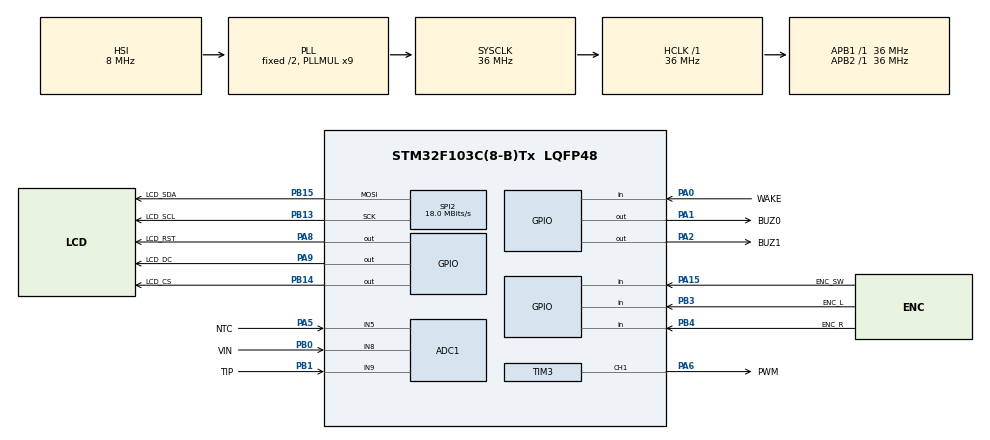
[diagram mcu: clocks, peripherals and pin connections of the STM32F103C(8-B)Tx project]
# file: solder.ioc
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ADC1.Channel-2\#ChannelRegularConversion=ADC_CHANNEL_5
ADC1.Channel-3\#ChannelRegularConversion=ADC_CHANNEL_8
ADC1.Channel-4\#ChannelRegularConversion=ADC_CHANNEL_9
ADC1.ContinuousConvMode=ENABLE
ADC1.EnableInjectedConversion=DISABLE
ADC1.NbrOfConversion=3
ADC1.NbrOfConversionFlag=1
ADC1.Rank-2\#ChannelRegularConversion=1
ADC1.Rank-3\#ChannelRegularConversion=2
ADC1.Rank-4\#ChannelRegularConversion=3
ADC1.SamplingTime-2\#ChannelRegularConversion=ADC_SAMPLETIME_13CYCLES_5
ADC1.SamplingTime-3\#ChannelRegularConversion=ADC_SAMPLETIME_13CYCLES_5
ADC1.SamplingTime-4\#ChannelRegularConversion=ADC_SAMPLETIME_13CYCLES_5
ADC1.master=1
Dma.ADC1.0.Direction=DMA_PERIPH_TO_MEMORY
Dma.ADC1.0.Instance=DMA1_Channel1
Dma.ADC1.0.MemDataAlignment=DMA_MDATAALIGN_HALFWORD
Dma.ADC1.0.MemInc=DMA_MINC_ENABLE
Dma.ADC1.0.Mode=DMA_NORMAL
Dma.ADC1.0.PeriphDataAlignment=DMA_PDATAALIGN_HALFWORD
Dma.ADC1.0.PeriphInc=DMA_PINC_DISABLE
Dma.ADC1.0.Priority=DMA_PRIORITY_VERY_HIGH
Dma.Request0=ADC1
Mcu.Family=STM32F1
Mcu.Name=STM32F103C(8-B)Tx
Mcu.Package=LQFP48
NVIC.DMA1_Channel1_IRQn=true\:0\:0\:false\:false\:true\:false\:true
NVIC.PriorityGroup=NVIC_PRIORITYGROUP_4
NVIC.TIM4_IRQn=true\:2\:0\:true\:false\:true\:true\:true
PA0-WKUP.GPIO_Label=WAKE
PA0-WKUP.Signal=GPIO_Input
PA1.GPIO_Label=BUZ0
PA1.Signal=GPIO_Output
PA13.Mode=Serial_Wire
PA13.Signal=SYS_JTMS-SWDIO
PA14.Mode=Serial_Wire
PA14.Signal=SYS_JTCK-SWCLK
PA15.GPIO_Label=ENC_SW
PA15.Signal=GPIO_Input
PA2.GPIO_Label=BUZ1
PA2.Signal=GPIO_Output
PA5.GPIO_Label=NTC
PA5.Signal=ADCx_IN5
PA6.GPIO_Label=PWM
PA6.Signal=S_TIM3_CH1
PA8.GPIO_Label=LCD_RST
PA8.GPIO_Speed=GPIO_SPEED_FREQ_HIGH
PA8.Signal=GPIO_Output
PA9.GPIO_Label=LCD_DC
PA9.GPIO_Speed=GPIO_SPEED_FREQ_HIGH
PA9.Signal=GPIO_Output
PB0.GPIO_Label=VIN
PB0.Signal=ADCx_IN8
PB1.GPIO_Label=TIP
PB1.Signal=ADCx_IN9
PB13.GPIO_Label=LCD_SCL
PB13.Mode=TX_Only_Simplex_Unidirect_Master
PB13.Signal=SPI2_SCK
PB14.GPIO_Label=LCD_CS
PB14.GPIO_Speed=GPIO_SPEED_FREQ_HIGH
PB14.Signal=GPIO_Output
PB15.GPIO_Label=LCD_SDA
PB15.Mode=TX_Only_Simplex_Unidirect_Master
PB15.Signal=SPI2_MOSI
PB3.GPIO_Label=ENC_L
PB3.Signal=GPIO_Input
PB4.GPIO_Label=ENC_R
PB4.Signal=GPIO_Input
PC14-OSC32_IN.Mode=LSE-External-Oscillator
PC14-OSC32_IN.Signal=RCC_OSC32_IN
PC15-OSC32_OUT.Mode=LSE-External-Oscillator
PC15-OSC32_OUT.Signal=RCC_OSC32_OUT
ProjectManager.HeapSize=0x200
ProjectManager.StackSize=0x400
ProjectManager.TargetToolchain=Makefile
RCC.ADCPresc=RCC_ADCPCLK2_DIV4
RCC.AHBFreq_Value=36000000
RCC.APB1Freq_Value=36000000
RCC.APB1TimFreq_Value=36000000
RCC.APB2Freq_Value=36000000
RCC.APB2TimFreq_Value=36000000
RCC.HCLKFreq_Value=36000000
RCC.PLLMUL=RCC_PLL_MUL9
RCC.RTCClockSelection=RCC_RTCCLKSOURCE_LSE
RCC.SYSCLKFreq_VALUE=36000000
RCC.SYSCLKSource=RCC_SYSCLKSOURCE_PLLCLK
RCC.USBFreq_Value=36000000
SH.ADCx_IN5.0=ADC1_IN5,IN5
SH.ADCx_IN8.0=ADC1_IN8,IN8
SH.ADCx_IN9.0=ADC1_IN9,IN9
SH.S_TIM3_CH1.0=TIM3_CH1,PWM Generation1 CH1
SPI2.BaudRatePrescaler=SPI_BAUDRATEPRESCALER_2
SPI2.CalculateBaudRate=18.0 MBits/s
SPI2.Direction=SPI_DIRECTION_2LINES
SPI2.Mode=SPI_MODE_MASTER
SPI2.VirtualType=VM_MASTER
TIM3.Channel-PWM\ Generation1\ CH1=TIM_CHANNEL_1
TIM3.OC1Preload_PWM=DISABLE
TIM3.OCFastMode_PWM-PWM\ Generation1\ CH1=TIM_OCFAST_ENABLE
TIM3.Prescaler=359
TIM3.TIM_MasterOutputTrigger=TIM_TRGO_UPDATE
TIM4.AutoReloadPreload=TIM_AUTORELOAD_PRELOAD_ENABLE
TIM4.Prescaler=359
TIM4.TIM_MasterOutputTrigger=TIM_TRGO_UPDATE
VP_CRC_VS_CRC.Mode=CRC_Activate
VP_RTC_No_RTC_Output.Mode=RTC_OUT_NO
VP_RTC_VS_RTC_Activate.Mode=RTC_Enabled
VP_TIM3_VS_ClockSourceINT.Mode=Internal
VP_TIM4_VS_ClockSourceINT.Mode=Internal
board=custom

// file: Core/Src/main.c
/* USER CODE BEGIN Header */
/**
 ******************************************************************************
 * @file           : main.c
 * @brief          : Main program body
 ******************************************************************************
 * @attention
 *
 * Copyright (c) 2021 STMicroelectronics.
 * All rights reserved.
 *
 * This software is licensed under terms that can be found in the LICENSE file
 * in the root directory of this software component.
 * If no LICENSE file comes with this software, it is provided AS-IS.
 *
 ******************************************************************************
 */
/* USER CODE END Header */
#include "main.h"

/* USER CODE BEGIN Includes */
#include "fonts.h"
#include "lcd.h"
#include "rotary_encoder.h"
#include "st7735.h"
#include "stm32f1xx_hal.h"
#include "settings.h"
#include "adc_global.h"
#include "tempsensors.h"
/* #include "ucg_com_stm32_hal.h" */
/* USER CODE END Includes */

ADC_HandleTypeDef hadc1;
DMA_HandleTypeDef hdma_adc1;

CRC_HandleTypeDef hcrc;

RTC_HandleTypeDef hrtc;

SPI_HandleTypeDef hspi2;

TIM_HandleTypeDef htim3;
TIM_HandleTypeDef htim4;

/* USER CODE BEGIN PV */
int32_t i = 0;
ucg_t ucg;
/* USER CODE END PV */

void SystemClock_Config(void);
static void MX_GPIO_Init(void);
static void MX_RTC_Init(void);
static void MX_SPI2_Init(void);
static void MX_DMA_Init(void);
static void MX_ADC1_Init(void);
static void MX_TIM4_Init(void);
static void MX_TIM3_Init(void);
static void MX_CRC_Init(void);

/* USER CODE BEGIN 0 */
#ifdef DEBUG_ALLOC
struct mallinfo mi;
uint32_t max_allocated;
#endif
// Allocate max possible ram, then release it. This fill the malloc pool and avoids internal fragmentation due (ST's?) poor malloc implementation.
void malloc_fragmentation_fix(void){
	uint32_t *ptr = NULL;
	uint32_t try=17408;
	while(!ptr && try){
		ptr = _malloc(try);
		try-=16;
	}
	_free(ptr);
#ifdef DEBUG_ALLOC
	max_allocated=0; //Clear max allocated result
#endif
}

void Init(void) {
	ucg.x_dim = ST7735_WIDTH;
	ucg.y_dim = ST7735_HEIGHT;
	ucg_Init();
	guiInit();
	ADC_Init(&ADC_DEVICE);
	lcd_init(&RE_Get, &RE1_Data);
	RE_Init((RE_State_t*)&RE1_Data, ENC_L_GPIO_Port, ENC_L_Pin, ENC_R_GPIO_Port, ENC_R_Pin, ENC_SW_GPIO_Port, ENC_SW_Pin);
}
/* USER CODE END 0 */

int main(void)
{
  /* USER CODE BEGIN 1 */
	malloc_fragmentation_fix();
  /* USER CODE END 1 */

  /* MCU Configuration--------------------------------------------------------*/

  /* Reset of all peripherals, Initializes the Flash interface and the Systick. */
  HAL_Init();

  /* Configure the system clock */
  SystemClock_Config();

  /* Initialize all configured peripherals */
  MX_GPIO_Init();
  MX_RTC_Init();
  MX_SPI2_Init();
  MX_DMA_Init();
  MX_ADC1_Init();
  MX_TIM4_Init();
  MX_TIM3_Init();
  MX_CRC_Init();
  /* USER CODE BEGIN 2 */
	/* for(uint32_t t=HAL_GetTick();(HAL_GetTick()-t)<500; ){  // Wait 500ms for voltage to stabilize? (Before calibrating ADC) */
	/* 	HAL_IWDG_Refresh(&hiwdg); */
	/* } */
	restoreSettings();
	/* resetSettings(); */
	/* saveSettings(); */
	Init();
	/* RE_Rotation_t restate; */
	uint32_t lastTimeDisplay = HAL_GetTick();
	ucg_SetBackColor(&ucg, C_BLACK);
	ucg_FillScreen(&ucg);
	ucg_SetForeColor(&ucg, C_RED);
	currentBoostSettings = systemSettings.boost;
	currentSleepSettings = systemSettings.sleep;
	/* applyBoostSettings(); */
	/* applySleepSettings(); */
	setCurrentTip(systemSettings.currentTip);
	/* ucg_SetFont(&ucg, &Font_16x26); */
  /* USER CODE END 2 */

  /* Infinite loop */
  /* USER CODE BEGIN WHILE */
	while (1)
	{
		if (HAL_GetTick() - lastTimeDisplay > 20) {
			lcd_processInput();
			lcd_update();
			lastTimeDisplay = HAL_GetTick();
		}
    /* USER CODE END WHILE */

	}
}

void SystemClock_Config(void)
{
  RCC_OscInitTypeDef RCC_OscInitStruct = {0};
  RCC_ClkInitTypeDef RCC_ClkInitStruct = {0};
  RCC_PeriphCLKInitTypeDef PeriphClkInit = {0};

  /** Initializes the RCC Oscillators according to the specified parameters
  * in the RCC_OscInitTypeDef structure.
  */
  RCC_OscInitStruct.OscillatorType = RCC_OSCILLATORTYPE_HSI|RCC_OSCILLATORTYPE_LSE;
  RCC_OscInitStruct.LSEState = RCC_LSE_ON;
  RCC_OscInitStruct.HSIState = RCC_HSI_ON;
  RCC_OscInitStruct.HSICalibrationValue = RCC_HSICALIBRATION_DEFAULT;
  RCC_OscInitStruct.PLL.PLLState = RCC_PLL_ON;
  RCC_OscInitStruct.PLL.PLLSource = RCC_PLLSOURCE_HSI_DIV2;
  RCC_OscInitStruct.PLL.PLLMUL = RCC_PLL_MUL9;
  if (HAL_RCC_OscConfig(&RCC_OscInitStruct) != HAL_OK)
  {
    Error_Handler();
  }
  /** Initializes the CPU, AHB and APB buses clocks
  */
  RCC_ClkInitStruct.ClockType = RCC_CLOCKTYPE_HCLK|RCC_CLOCKTYPE_SYSCLK
                              |RCC_CLOCKTYPE_PCLK1|RCC_CLOCKTYPE_PCLK2;
  RCC_ClkInitStruct.SYSCLKSource = RCC_SYSCLKSOURCE_PLLCLK;
  RCC_ClkInitStruct.AHBCLKDivider = RCC_SYSCLK_DIV1;
  RCC_ClkInitStruct.APB1CLKDivider = RCC_HCLK_DIV1;
  RCC_ClkInitStruct.APB2CLKDivider = RCC_HCLK_DIV1;

  if (HAL_RCC_ClockConfig(&RCC_ClkInitStruct, FLASH_LATENCY_1) != HAL_OK)
  {
    Error_Handler();
  }
  PeriphClkInit.PeriphClockSelection = RCC_PERIPHCLK_RTC|RCC_PERIPHCLK_ADC;
  PeriphClkInit.RTCClockSelection = RCC_RTCCLKSOURCE_LSE;
  PeriphClkInit.AdcClockSelection = RCC_ADCPCLK2_DIV4;
  if (HAL_RCCEx_PeriphCLKConfig(&PeriphClkInit) != HAL_OK)
  {
    Error_Handler();
  }
}

static void MX_ADC1_Init(void)
{

  ADC_ChannelConfTypeDef sConfig = {0};

  /** Common config
  */
  hadc1.Instance = ADC1;
  hadc1.Init.ScanConvMode = ADC_SCAN_ENABLE;
  hadc1.Init.ContinuousConvMode = ENABLE;
  hadc1.Init.DiscontinuousConvMode = DISABLE;
  hadc1.Init.ExternalTrigConv = ADC_SOFTWARE_START;
  hadc1.Init.DataAlign = ADC_DATAALIGN_RIGHT;
  hadc1.Init.NbrOfConversion = 3;
  if (HAL_ADC_Init(&hadc1) != HAL_OK)
  {
    Error_Handler();
  }
  /** Configure Regular Channel
  */
  sConfig.Channel = ADC_CHANNEL_5;
  sConfig.Rank = ADC_REGULAR_RANK_1;
  sConfig.SamplingTime = ADC_SAMPLETIME_13CYCLES_5;
  if (HAL_ADC_ConfigChannel(&hadc1, &sConfig) != HAL_OK)
  {
    Error_Handler();
  }
  /** Configure Regular Channel
  */
  sConfig.Channel = ADC_CHANNEL_8;
  sConfig.Rank = ADC_REGULAR_RANK_2;
  if (HAL_ADC_ConfigChannel(&hadc1, &sConfig) != HAL_OK)
  {
    Error_Handler();
  }
  /** Configure Regular Channel
  */
  sConfig.Channel = ADC_CHANNEL_9;
  sConfig.Rank = ADC_REGULAR_RANK_3;
  if (HAL_ADC_ConfigChannel(&hadc1, &sConfig) != HAL_OK)
  {
    Error_Handler();
  }

}

static void MX_CRC_Init(void)
{

  hcrc.Instance = CRC;
  if (HAL_CRC_Init(&hcrc) != HAL_OK)
  {
    Error_Handler();
  }

}

static void MX_RTC_Init(void)
{

  RTC_TimeTypeDef sTime = {0};
  RTC_DateTypeDef DateToUpdate = {0};

  /** Initialize RTC Only
  */
  hrtc.Instance = RTC;
  hrtc.Init.AsynchPrediv = RTC_AUTO_1_SECOND;
  hrtc.Init.OutPut = RTC_OUTPUTSOURCE_NONE;
  if (HAL_RTC_Init(&hrtc) != HAL_OK)
  {
    Error_Handler();
  }

  /** Initialize RTC and set the Time and Date
  */
  sTime.Hours = 0x0;
  sTime.Minutes = 0x0;
  sTime.Seconds = 0x0;

  if (HAL_RTC_SetTime(&hrtc, &sTime, RTC_FORMAT_BCD) != HAL_OK)
  {
    Error_Handler();
  }
  DateToUpdate.WeekDay = RTC_WEEKDAY_MONDAY;
  DateToUpdate.Month = RTC_MONTH_JANUARY;
  DateToUpdate.Date = 0x1;
  DateToUpdate.Year = 0x0;

  if (HAL_RTC_SetDate(&hrtc, &DateToUpdate, RTC_FORMAT_BCD) != HAL_OK)
  {
    Error_Handler();
  }

}

static void MX_SPI2_Init(void)
{

  /* SPI2 parameter configuration*/
  hspi2.Instance = SPI2;
  hspi2.Init.Mode = SPI_MODE_MASTER;
  hspi2.Init.Direction = SPI_DIRECTION_2LINES;
  hspi2.Init.DataSize = SPI_DATASIZE_8BIT;
  hspi2.Init.CLKPolarity = SPI_POLARITY_LOW;
  hspi2.Init.CLKPhase = SPI_PHASE_1EDGE;
  hspi2.Init.NSS = SPI_NSS_SOFT;
  hspi2.Init.BaudRatePrescaler = SPI_BAUDRATEPRESCALER_2;
  hspi2.Init.FirstBit = SPI_FIRSTBIT_MSB;
  hspi2.Init.TIMode = SPI_TIMODE_DISABLE;
  hspi2.Init.CRCCalculation = SPI_CRCCALCULATION_DISABLE;
  hspi2.Init.CRCPolynomial = 10;
  if (HAL_SPI_Init(&hspi2) != HAL_OK)
  {
    Error_Handler();
  }

}

static void MX_TIM3_Init(void)
{

  TIM_ClockConfigTypeDef sClockSourceConfig = {0};
  TIM_MasterConfigTypeDef sMasterConfig = {0};
  TIM_OC_InitTypeDef sConfigOC = {0};

  htim3.Instance = TIM3;
  htim3.Init.Prescaler = 359;
  htim3.Init.CounterMode = TIM_COUNTERMODE_UP;
  htim3.Init.Period = 65535;
  htim3.Init.ClockDivision = TIM_CLOCKDIVISION_DIV1;
  htim3.Init.AutoReloadPreload = TIM_AUTORELOAD_PRELOAD_DISABLE;
  if (HAL_TIM_Base_Init(&htim3) != HAL_OK)
  {
    Error_Handler();
  }
  sClockSourceConfig.ClockSource = TIM_CLOCKSOURCE_INTERNAL;
  if (HAL_TIM_ConfigClockSource(&htim3, &sClockSourceConfig) != HAL_OK)
  {
    Error_Handler();
  }
  if (HAL_TIM_PWM_Init(&htim3) != HAL_OK)
  {
    Error_Handler();
  }
  sMasterConfig.MasterOutputTrigger = TIM_TRGO_UPDATE;
  sMasterConfig.MasterSlaveMode = TIM_MASTERSLAVEMODE_DISABLE;
  if (HAL_TIMEx_MasterConfigSynchronization(&htim3, &sMasterConfig) != HAL_OK)
  {
    Error_Handler();
  }
  sConfigOC.OCMode = TIM_OCMODE_PWM1;
  sConfigOC.Pulse = 0;
  sConfigOC.OCPolarity = TIM_OCPOLARITY_HIGH;
  sConfigOC.OCFastMode = TIM_OCFAST_ENABLE;
  if (HAL_TIM_PWM_ConfigChannel(&htim3, &sConfigOC, TIM_CHANNEL_1) != HAL_OK)
  {
    Error_Handler();
  }
  __HAL_TIM_DISABLE_OCxPRELOAD(&htim3, TIM_CHANNEL_1);
  HAL_TIM_MspPostInit(&htim3);

}

static void MX_TIM4_Init(void)
{

  TIM_ClockConfigTypeDef sClockSourceConfig = {0};
  TIM_MasterConfigTypeDef sMasterConfig = {0};

  htim4.Instance = TIM4;
  htim4.Init.Prescaler = 359;
  htim4.Init.CounterMode = TIM_COUNTERMODE_UP;
  htim4.Init.Period = 65535;
  htim4.Init.ClockDivision = TIM_CLOCKDIVISION_DIV1;
  htim4.Init.AutoReloadPreload = TIM_AUTORELOAD_PRELOAD_ENABLE;
  if (HAL_TIM_Base_Init(&htim4) != HAL_OK)
  {
    Error_Handler();
  }
  sClockSourceConfig.ClockSource = TIM_CLOCKSOURCE_INTERNAL;
  if (HAL_TIM_ConfigClockSource(&htim4, &sClockSourceConfig) != HAL_OK)
  {
    Error_Handler();
  }
  sMasterConfig.MasterOutputTrigger = TIM_TRGO_UPDATE;
  sMasterConfig.MasterSlaveMode = TIM_MASTERSLAVEMODE_DISABLE;
  if (HAL_TIMEx_MasterConfigSynchronization(&htim4, &sMasterConfig) != HAL_OK)
  {
    Error_Handler();
  }

}

static void MX_DMA_Init(void)
{

  /* DMA controller clock enable */
  __HAL_RCC_DMA1_CLK_ENABLE();

  /* DMA interrupt init */
  /* DMA1_Channel1_IRQn interrupt configuration */
  HAL_NVIC_SetPriority(DMA1_Channel1_IRQn, 0, 0);
  HAL_NVIC_EnableIRQ(DMA1_Channel1_IRQn);

}

static void MX_GPIO_Init(void)
{
  GPIO_InitTypeDef GPIO_InitStruct = {0};

  /* GPIO Ports Clock Enable */
  __HAL_RCC_GPIOC_CLK_ENABLE();
  __HAL_RCC_GPIOA_CLK_ENABLE();
  __HAL_RCC_GPIOB_CLK_ENABLE();

  /*Configure GPIO pin Output Level */
  HAL_GPIO_WritePin(GPIOA, BUZ0_Pin|BUZ1_Pin|LCD_RST_Pin|LCD_DC_Pin, GPIO_PIN_RESET);

  /*Configure GPIO pin Output Level */
  HAL_GPIO_WritePin(LCD_CS_GPIO_Port, LCD_CS_Pin, GPIO_PIN_RESET);

  /*Configure GPIO pins : WAKE_Pin ENC_SW_Pin */
  GPIO_InitStruct.Pin = WAKE_Pin|ENC_SW_Pin;
  GPIO_InitStruct.Mode = GPIO_MODE_INPUT;
  GPIO_InitStruct.Pull = GPIO_NOPULL;
  HAL_GPIO_Init(GPIOA, &GPIO_InitStruct);

  /*Configure GPIO pins : BUZ0_Pin BUZ1_Pin */
  GPIO_InitStruct.Pin = BUZ0_Pin|BUZ1_Pin;
  GPIO_InitStruct.Mode = GPIO_MODE_OUTPUT_PP;
  GPIO_InitStruct.Pull = GPIO_NOPULL;
  GPIO_InitStruct.Speed = GPIO_SPEED_FREQ_LOW;
  HAL_GPIO_Init(GPIOA, &GPIO_InitStruct);

  /*Configure GPIO pin : LCD_CS_Pin */
  GPIO_InitStruct.Pin = LCD_CS_Pin;
  GPIO_InitStruct.Mode = GPIO_MODE_OUTPUT_PP;
  GPIO_InitStruct.Pull = GPIO_NOPULL;
  GPIO_InitStruct.Speed = GPIO_SPEED_FREQ_HIGH;
  HAL_GPIO_Init(LCD_CS_GPIO_Port, &GPIO_InitStruct);

  /*Configure GPIO pins : LCD_RST_Pin LCD_DC_Pin */
  GPIO_InitStruct.Pin = LCD_RST_Pin|LCD_DC_Pin;
  GPIO_InitStruct.Mode = GPIO_MODE_OUTPUT_PP;
  GPIO_InitStruct.Pull = GPIO_NOPULL;
  GPIO_InitStruct.Speed = GPIO_SPEED_FREQ_HIGH;
  HAL_GPIO_Init(GPIOA, &GPIO_InitStruct);

  /*Configure GPIO pins : ENC_L_Pin ENC_R_Pin */
  GPIO_InitStruct.Pin = ENC_L_Pin|ENC_R_Pin;
  GPIO_InitStruct.Mode = GPIO_MODE_INPUT;
  GPIO_InitStruct.Pull = GPIO_NOPULL;
  HAL_GPIO_Init(GPIOB, &GPIO_InitStruct);

}

/* USER CODE BEGIN 4 */
// Called from SysTick IRQ every 1mS
void Program_Handler(void) {
	/* handle_buzzer();                                                    // Handle buzzer state */
	RE_Process(&RE1_Data);                                              // Handle Encoder
	/* if(systemSettings.settings.WakeInputMode!=mode_stand){ */
	/*   readWake(); */
	/* } */
}

/*
 *
 *  Timer working in load preload mode! The value loaded now is loaded on next event. That's why the values are reversed!
 */
void HAL_TIM_PeriodElapsedCallback(TIM_HandleTypeDef *_htim){
  /* if(_htim == Iron.Read_Timer){ */
  /*   __HAL_TIM_CLEAR_FLAG(Iron.Read_Timer,TIM_FLAG_UPDATE); */
  /*  */
  /*   if(ADC_Status==ADC_Idle){ */
  /*     __HAL_TIM_SET_AUTORELOAD(Iron.Read_Timer,systemSettings.Profile.readPeriod-(systemSettings.Profile.readDelay+1)); // load (period-delay) time */
  /*  */
  /*     if(systemSettings.settings.activeDetection && !Iron.Error.safeMode){ */
  /*       configurePWMpin(output_High);                                                   // Force PWM high for a few uS (typically 5-10uS) */
  /*       while(__HAL_TIM_GET_COUNTER(Iron.Read_Timer)<(PWM_DETECT_TIME/5)); */
  /*     } */
  /*     configurePWMpin(output_Low);                                                      // Force PWM low */
  /*     ADC_Status = ADC_Waiting; */
  /*   } */
  /*   else if(ADC_Status==ADC_Waiting){ */
  /*     __HAL_TIM_SET_AUTORELOAD(Iron.Read_Timer,systemSettings.Profile.readDelay);       // Load Delay time */
  /*     ADC_Start_DMA(); */
  /*   } */
  /* } */
}

/* USER CODE END 4 */

void Error_Handler(void)
{
  /* USER CODE BEGIN Error_Handler_Debug */
	ucg_SetBackColor(&ucg, C_BLACK);
	ucg_FillScreen(&ucg);
	ucg_SetFont(&ucg, &font_18m);
	ucg_SetForeColor(&ucg, C_RED);
	char strOut[16];
	uint8_t outPos=0;
	uint8_t inPos=0;
	uint8_t ypos=16;

	sprintf(strOut,"Line %u",line);
	ucg_WriteString(&ucg, 0, 0, strOut);

	while(1){                                                  // Divide string in chuncks that fit teh screen width
		strOut[outPos] = file[inPos];                            // Copy char
		strOut[outPos+1] = 0;                                    // Set out string null terminator
		uint8_t currentWidth = ucg_GetStrWidth(&ucg, &font_18m, strOut);  // Get width
		if(currentWidth < ucg_GetXDim(&ucg)){                              // If less than oled width, increase input string pos
			inPos++;
		}
		if( (currentWidth > ucg_GetXDim(&ucg)) || (strOut[outPos]==0) ){  // If width bigger than oled width or current char null(We reached end of input string)
			char current = strOut[outPos];                        // Store current char
			strOut[outPos]=0;                                     // Set current out char to null
			ucg_WriteString(&ucg, 0, ypos, strOut);                 // Draw string
			if(current==0){                                       // If current is null, we reached end
				break;                                              // Break
			}
			outPos=0;                                             // Else, reset output position
			ypos += 18;                                           // Increase Y position and continue copying the input string
		}
		else{
			outPos++;                                              // Output buffer not filled yet, increase position
		}
	};
	/* User can add his own implementation to report the HAL error return state */
	__disable_irq();
	while (1)
	{
	}
  /* USER CODE END Error_Handler_Debug */
}

#ifdef  USE_FULL_ASSERT
/**
  * @brief  Reports the name of the source file and the source line number
  *         where the assert_param error has occurred.
  * @param  file: pointer to the source file name
  * @param  line: assert_param error line source number
  * @retval None
  */
void assert_failed(uint8_t *file, uint32_t line)
{
  /* USER CODE BEGIN 6 */
	/* User can add his own implementation to report the file name and line number,
	   printf("Wrong parameters value: file %s on line %d\r\n", file, line) */
  /* USER CODE END 6 */
}
#endif /* USE_FULL_ASSERT */
